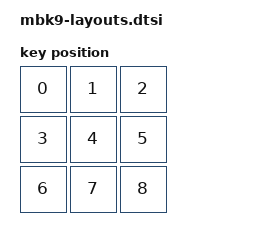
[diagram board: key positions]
/*
 * Physical Layout Configuration for MBK9 (3x3 Matrix)
 */

#include <physical_layouts.dtsi>

/ {
    default_layout: default_layout {
        compatible = "zmk,physical-layout";
        display-name = "3x3 Grid";
        transform = <&default_transform>;
        kscan = <&kscan0>;

        // 3x3 Grid layout with key positions
        // Each key is 100x100 units (1u x 1u)
        keys  //                     w   h    x    y     rot    rx    ry
            = <&key_physical_attrs 100 100    0    0       0     0     0>
            , <&key_physical_attrs 100 100  100    0       0     0     0>
            , <&key_physical_attrs 100 100  200    0       0     0     0>
            , <&key_physical_attrs 100 100    0  100       0     0     0>
            , <&key_physical_attrs 100 100  100  100       0     0     0>
            , <&key_physical_attrs 100 100  200  100       0     0     0>
            , <&key_physical_attrs 100 100    0  200       0     0     0>
            , <&key_physical_attrs 100 100  100  200       0     0     0>
            , <&key_physical_attrs 100 100  200  200       0     0     0>
            ;
    };
};
